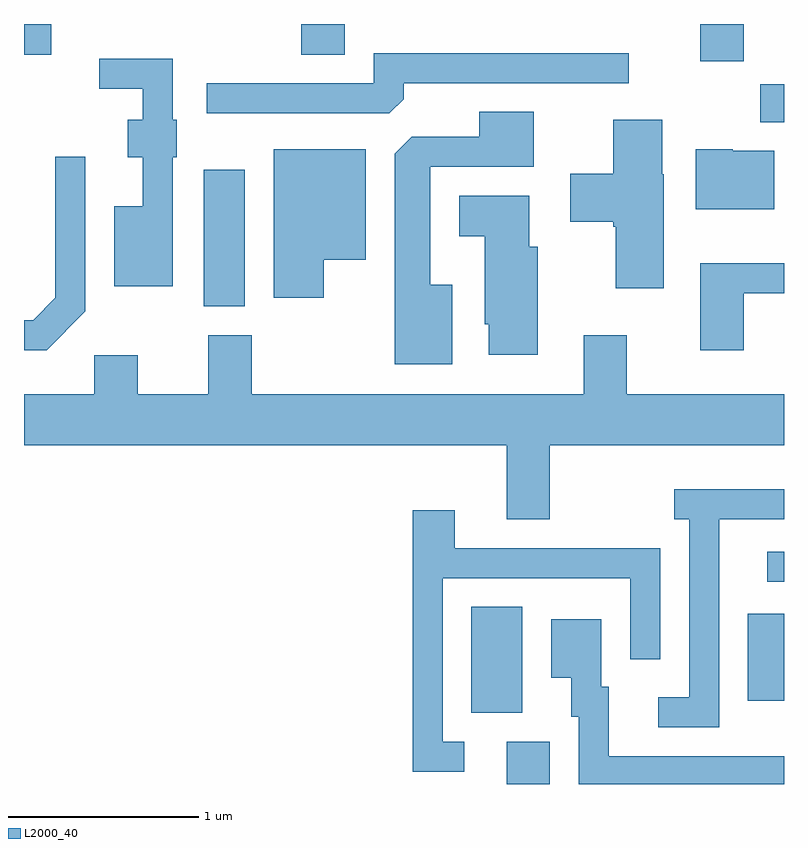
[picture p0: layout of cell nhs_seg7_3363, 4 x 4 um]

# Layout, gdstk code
import gdstk
lib = gdstk.Library(unit=1e-6, precision=1e-09)
def R(c, l, rs):  # rectangles x0, y0, x1, y1
    for r in rs: c.add(gdstk.rectangle(r[:2], r[2:], *l))
def P(c, l, *ps):  # polygons
    for p in ps: c.add(gdstk.Polygon(p, *l))
L2000_40 = (2000, 40)

nhs_seg7_3363 = lib.new_cell('nhs_seg7_3363')
R(nhs_seg7_3363, L2000_40, [(290.151,1770.252,290.379,1770.474), (289.966,1770.626,290.234,1771.184), (291.421,1770.691,291.611,1771.149), (291.523,1771.316,291.611,1771.474), (288.556,1772.766,288.774,1773.484), (291.486,1773.736,291.611,1773.934), (291.171,1774.056,291.399,1774.252), (287.611,1774.091,287.754,1774.252), (289.071,1774.091,289.299,1774.252)])
P(nhs_seg7_3363, L2000_40, [(289.609,1773.857),(289.609,1773.941),(290.793,1773.941),(290.793,1774.099),(289.451,1774.099),(289.451,1773.939),(288.573,1773.939),(288.573,1773.781),(289.534,1773.781)],
  [(288.394,1773.551),(288.414,1773.551),(288.414,1773.749),(288.394,1773.749),(288.394,1774.069),(288.008,1774.069),(288.008,1773.911),(288.236,1773.911),(288.236,1773.749),(288.156,1773.749),(288.156,1773.551),(288.236,1773.551),(288.236,1773.294),(288.086,1773.294),(288.086,1772.871),(288.394,1772.871)],
  [(289.864,1772.879),(289.749,1772.879),(289.749,1773.501),(290.294,1773.501),(290.294,1773.789),(290.006,1773.789),(290.006,1773.659),(289.652,1773.659),(289.561,1773.569),(289.561,1772.461),(289.864,1772.461)],
  [(290.979,1773.46),(290.969,1773.46),(290.969,1773.749),(290.711,1773.749),(290.711,1773.464),(290.486,1773.464),(290.486,1773.211),(290.711,1773.211),(290.711,1773.185),(290.726,1773.185),(290.726,1772.861),(290.979,1772.861)],
  [(289.189,1773.011),(289.409,1773.011),(289.409,1773.594),(288.926,1773.594),(288.926,1772.811),(289.189,1772.811)],
  [(291.559,1773.584),(291.34,1773.584),(291.34,1773.594),(291.146,1773.594),(291.146,1773.276),(291.559,1773.276)],
  [(287.934,1772.739),(287.934,1773.553),(287.776,1773.553),(287.776,1772.812),(287.659,1772.694),(287.611,1772.694),(287.611,1772.536),(287.732,1772.536)],
  [(290.314,1773.079),(290.269,1773.079),(290.269,1773.349),(289.901,1773.349),(289.901,1773.136),(290.036,1773.136),(290.036,1772.671),(290.056,1772.671),(290.056,1772.511),(290.314,1772.511)],
  [(291.399,1772.836),(291.611,1772.836),(291.611,1772.994),(291.171,1772.994),(291.171,1772.536),(291.399,1772.536)],
  [(290.379,1772.036),(291.611,1772.036),(291.611,1772.304),(290.784,1772.304),(290.784,1772.614),(290.556,1772.614),(290.556,1772.304),(288.809,1772.304),(288.809,1772.614),(288.581,1772.614),(288.581,1772.304),(288.209,1772.304),(288.209,1772.509),(287.981,1772.509),(287.981,1772.304),(287.611,1772.304),(287.611,1772.036),(290.151,1772.036),(290.151,1771.646),(290.379,1771.646)],
  [(291.269,1771.646),(291.611,1771.646),(291.611,1771.804),(291.033,1771.804),(291.033,1771.646),(291.111,1771.646),(291.111,1770.709),(290.948,1770.709),(290.948,1770.551),(291.269,1770.551)],
  [(289.928,1770.474),(289.814,1770.474),(289.814,1771.336),(290.801,1771.336),(290.801,1770.908),(290.959,1770.908),(290.959,1771.494),(289.879,1771.494),(289.879,1771.694),(289.656,1771.694),(289.656,1770.316),(289.928,1770.316)],
  [(291.611,1770.399),(290.689,1770.399),(290.689,1770.764),(290.649,1770.764),(290.649,1771.119),(290.386,1771.119),(290.386,1770.811),(290.491,1770.811),(290.491,1770.606),(290.531,1770.606),(290.531,1770.252),(291.611,1770.252)])

lib.write_gds('nhs_seg7_3363.gds')
